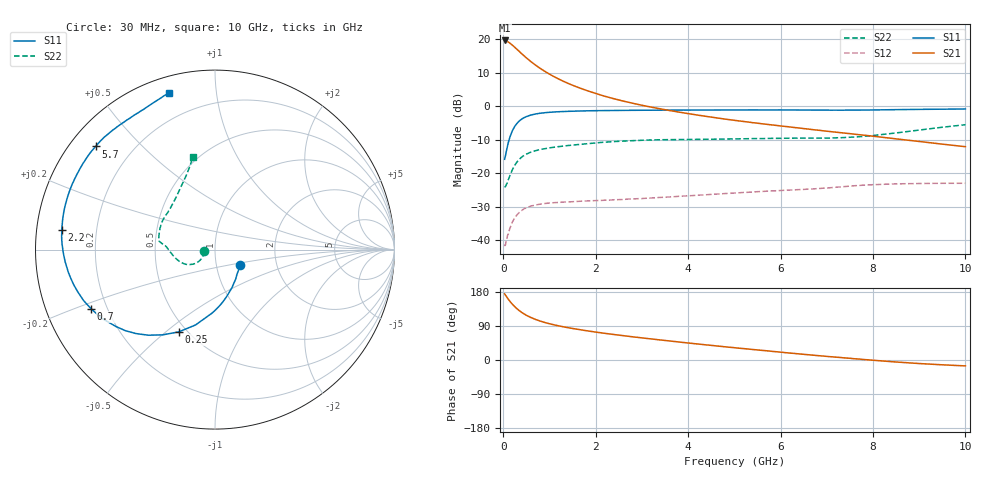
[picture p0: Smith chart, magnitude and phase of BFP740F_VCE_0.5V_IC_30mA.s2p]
! Infineon Technologies  Discrete & RF Semiconductors
! BFP740F
! VCE =  0.5 V,  IC =  30 mA
! Common Emitter S-Parameters:  Oct 2012
# GHz  S  MA  R  50
!  f  S11  S21  S12  S22
! GHz  MAG  ANG  MAG  ANG  MAG  ANG  MAG  ANG
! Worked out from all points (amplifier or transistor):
!   99 points, 30 MHz to 10 GHz, reference 50 ohm
!   highest |S21| = 19.6 dB at 30 MHz (marker M1)
!   |S21| within 3 dB of that: start of sweep to 326 MHz
!   unconditionally stable (mu >= 1): start of sweep to end of sweep
!   at 350 MHz: K = 1.89, MAG = 18.5 dB, |S12| = -31.6 dB
!   at 3.5 GHz: K = 2.82, MAG = 5.7 dB, |S12| = -27.1 dB
!   at 10 GHz: K = 3.95, MAG = -3.5 dB, |S12| = -23.0 dB
!   S11 on the Smith chart (normalised r, x): 30 MHz: 1.30, -0.22; 250 MHz: 0.45, -0.55; 700 MHz: 0.14, -0.22; 2.2 GHz: 0.08, +0.06; 5.7 GHz: 0.07, +0.37; 10 GHz: 0.07, +0.74
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0.03  0.1618 -31.4  9.542 174.5  0.0082 17.3  0.0617 -171.4
0.09  0.2501 -71.4  9.186 163.9  0.0116 37.4  0.0737 -153.4
0.13  0.3204 -86.6  8.841 157.2  0.014 40.9  0.0867 -147.2
0.2  0.4338 -104.5  8.103 146.9  0.0189 42.2  0.1136 -143.8
0.25  0.5012 -113.8  7.544 140.6  0.0217 41.0  0.1319 -144.4
0.3  0.5569 -121.5  7.014 135.0  0.0241 39.4  0.1481 -146.7
0.35  0.6037 -127.8  6.524 130.0  0.0262 37.5  0.1621 -149.1
0.45  0.6735 -137.9  5.65 121.7  0.0296 33.3  0.1845 -153.9
0.5  0.699 -142.2  5.257 118.1  0.0305 31.6  0.193 -156.5
0.6  0.7386 -148.9  4.616 112.1  0.0325 28.6  0.2071 -160.8
0.7  0.7652 -154.5  4.089 107.0  0.0337 26.0  0.2171 -164.8
0.9  0.7994 -162.7  3.306 99.0  0.0355 22.5  0.2325 -170.9
1.1  0.8195 -168.8  2.756 92.8  0.0365 20.9  0.2444 -175.4
1.4  0.8378 -175.4  2.193 85.3  0.0375 19.5  0.2592 -179.9
1.7  0.8491 179.4  1.818 79.2  0.0384 18.8  0.2708 176.7
2.2  0.8605 172.7  1.405 70.3  0.0397 18.9  0.2912 174.2
3.4  0.8725 160.0  0.912 52.8  0.0437 21.2  0.3162 171.2
5.1  0.879 144.3  0.603 31.2  0.0512 22.3  0.3263 161.3
5.7  0.8794 139.2  0.537 24.3  0.0541 21.8  0.3304 156.1
6.7  0.8748 129.5  0.447 12.8  0.0585 21.3  0.3344 145.8
8.5  0.888 112.5  0.326 -5.3  0.0696 14.9  0.3993 118.2
10  0.9085 106.5  0.249 -15.6  0.071 9.7  0.5298 103.5
